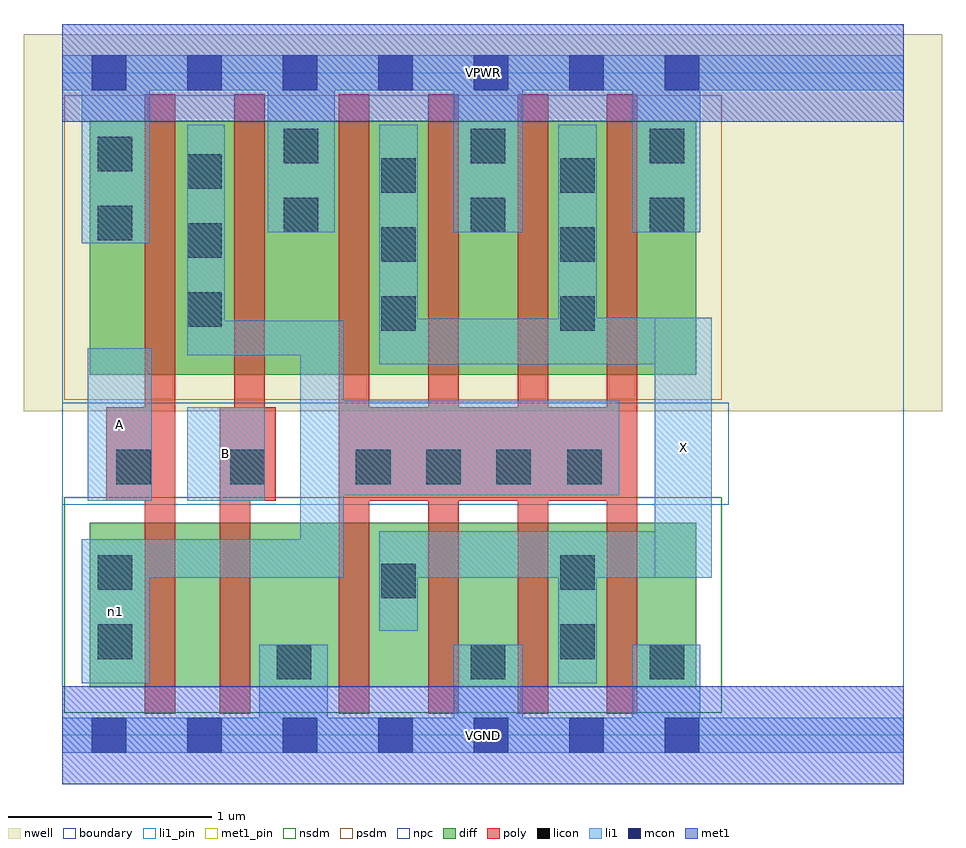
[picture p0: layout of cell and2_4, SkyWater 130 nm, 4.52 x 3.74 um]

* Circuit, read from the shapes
.subckt and2_4 A B VGND VPWR X n1
XM1 n2 A n1 VSUBS sky130_fd_pr__nfet_01v8 w=0.81 l=0.15
XM2 VGND B n2 VSUBS sky130_fd_pr__nfet_01v8 w=0.81 l=0.15
XM3 X n1 VGND VSUBS sky130_fd_pr__nfet_01v8 w=0.81 l=0.15 m=4
XM4 n1 A VPWR n3 sky130_fd_pr__pfet_01v8 w=1.25 l=0.15
XM5 VPWR B n1 n3 sky130_fd_pr__pfet_01v8 w=1.25 l=0.15
XM6 X n1 VPWR n3 sky130_fd_pr__pfet_01v8 w=1.25 l=0.15 m=4
.ends

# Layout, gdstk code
import gdstk
lib = gdstk.Library(unit=1e-6, precision=1e-09)
def R(c, l, rs):  # rectangles x0, y0, x1, y1
    for r in rs: c.add(gdstk.rectangle(r[:2], r[2:], *l))
def A(c, l, x, y, w, h, nx, ny, dx, dy):  # array of equal rectangles
    R(c, l, [(x+i*dx, y+j*dy, x+i*dx+w, y+j*dy+h) for i in range(nx) for j in range(ny)])
nwell = (64, 20)
diff = (65, 20)
poly = (66, 20)
licon = (66, 44)
li1_pin = (67, 16)
li1 = (67, 20)
mcon = (67, 44)
met1_pin = (68, 16)
met1 = (68, 20)
nsdm = (93, 44)
psdm = (94, 20)
npc = (95, 20)
boundary = (235, 4)

and2_4 = lib.new_cell('and2_4')
R(and2_4, nwell, [(-0.19,1.595,4.33,3.45), (0,1.595,4.14,3.45)])
R(and2_4, diff, [(0.135,0.235,3.12,1.045), (0.135,1.775,3.12,3.025)])
A(and2_4, poly, 1.36, 0.105, 0.15, 3.05, 4, 1, 0.44, 0)
R(and2_4, poly, [(0.405,0.105,0.555,3.155), (0.775,0.105,0.925,1.615), (0.215,1.155,0.555,1.615), (0.775,1.155,1.05,1.615), (0.845,1.155,0.995,3.155), (1.36,1.155,2.83,1.615)])
A(and2_4, licon, 1.445, 1.235, 0.17, 0.17, 3, 1, 0.345, 0)
A(and2_4, licon, 1.57, 1.99, 0.17, 0.17, 1, 3, 0, 0.34)
A(and2_4, licon, 2.45, 1.99, 0.17, 0.17, 1, 3, 0, 0.34)
A(and2_4, licon, 0.615, 2.01, 0.17, 0.17, 1, 3, 0, 0.34)
R(and2_4, licon, [(1.055,0.275,1.225,0.445), (2.01,0.275,2.18,0.445), (2.89,0.275,3.06,0.445), (0.175,0.375,0.345,0.545), (2.45,0.375,2.62,0.545), (1.57,0.675,1.74,0.845), (0.175,0.715,0.345,0.885), (2.45,0.715,2.62,0.885), (0.265,1.235,0.435,1.405), (0.825,1.235,0.995,1.405), (2.485,1.235,2.655,1.405), (0.175,2.435,0.345,2.605), (1.09,2.475,1.26,2.645), (2.01,2.475,2.18,2.645), (2.89,2.475,3.06,2.645), (0.175,2.775,0.345,2.945), (1.09,2.815,1.26,2.985), (2.01,2.815,2.18,2.985), (2.89,2.815,3.06,2.985)])
R(and2_4, li1_pin, [(2.915,0.775,3.195,2.055), (0.125,1.155,0.44,1.905), (0.615,1.155,0.995,1.615)])
R(and2_4, li1, [(0,-0.085,4.14,0.085), (0.97,-0.085,1.305,0.445), (1.925,-0.085,2.265,0.445), (2.805,-0.085,3.14,0.445), (0.095,0.255,0.43,0.965), (2.44,0.255,2.63,1.005), (1.56,0.515,1.75,1.005), (0.095,0.775,1.385,0.965), (1.17,0.775,1.385,2.04), (1.56,0.775,3.195,1.005), (2.915,0.775,3.195,2.055), (0.125,1.155,0.44,1.905), (0.615,1.155,0.995,1.615), (1.17,1.18,2.74,1.645), (1.56,1.825,3.195,2.05), (1.56,1.825,1.75,3.005), (2.44,1.825,2.63,3.005), (2.44,1.825,3.195,2.055), (0.615,1.87,0.8,3.005), (0.615,1.87,1.385,2.04), (0.095,2.42,0.43,3.345), (1.01,2.475,1.34,3.345), (1.925,2.475,2.265,3.345), (2.805,2.475,3.14,3.345), (0,3.175,4.14,3.345)])
A(and2_4, mcon, 0.145, -0.085, 0.17, 0.17, 7, 2, 0.47, 3.26)
R(and2_4, met1_pin, [(0,-0.24,4.14,0.24), (0,3.02,4.14,3.5)])
R(and2_4, met1, [(0,-0.24,4.14,0.24), (0,3.02,4.14,3.5)])
R(and2_4, nsdm, [(0.01,0.11,3.245,1.17)])
R(and2_4, psdm, [(0.01,1.65,3.245,3.15)])
R(and2_4, npc, [(0,1.135,3.28,1.635)])
R(and2_4, boundary, [(0,0,4.14,3.26)])
and2_4.add(gdstk.Label('A', (0.282,1.53), layer=67, texttype=5))
and2_4.add(gdstk.Label('B', (0.805,1.385), layer=67, texttype=5))
and2_4.add(gdstk.Label('X', (3.055,1.415), layer=67, texttype=5))
and2_4.add(gdstk.Label('n1', (0.262,0.61), layer=67, texttype=5))
and2_4.add(gdstk.Label('VPWR', (2.07,3.26), layer=68, texttype=5))
and2_4.add(gdstk.Label('VGND', (2.07,0), layer=68, texttype=5))
and2_4.add(gdstk.Label('A', (0.282,1.53), layer=67, texttype=16))
and2_4.add(gdstk.Label('B', (0.805,1.385), layer=67, texttype=16))
and2_4.add(gdstk.Label('X', (3.055,1.415), layer=67, texttype=16))
and2_4.add(gdstk.Label('VPWR', (2.07,3.26), layer=68, texttype=16))
and2_4.add(gdstk.Label('VGND', (2.07,0), layer=68, texttype=16))

lib.write_gds('and2_4.gds')
